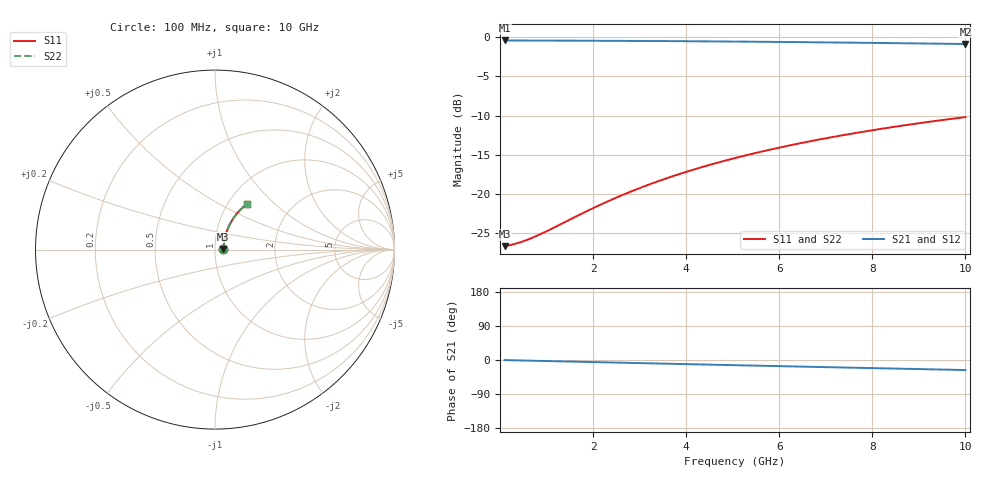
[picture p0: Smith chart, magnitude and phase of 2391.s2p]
# Hz S RI R 50.00
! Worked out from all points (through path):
!   100 points, 100 MHz to 10 GHz, reference 50 ohm
!   highest |S21| = -0.41 dB at 100 MHz (marker M1); lowest = -0.9 dB at 10 GHz (marker M2)
!   group delay of S21, straight-line fit = 7.36 ps
!   lowest |S11| = -26.6 dB at 100 MHz (marker M3), VSWR 1.10, Z = 54.9 + j0.338 ohm
!   |S11| at or under -10 dB: start of sweep to end of sweep
!   |S22| runs from -26.6 to -10.2 dB; largest |S21 - S12| = 0
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1e8  0.0466 0.00307  0.9534 -0.00456  0.9534 -0.00456  0.0466 0.00307
3e8  0.0472 0.0092  0.9528 -0.0137  0.9528 -0.0137  0.0472 0.0092
4e8  0.0475 0.0123  0.9525 -0.0182  0.9525 -0.0182  0.0475 0.0123
5e8  0.0478 0.0153  0.9522 -0.0228  0.9522 -0.0228  0.0478 0.0153
7e8  0.0484 0.0214  0.9516 -0.0318  0.9516 -0.0318  0.0484 0.0214
1e9  0.0494 0.0306  0.9505 -0.0454  0.9505 -0.0454  0.0494 0.0306
1.8e9  0.0532 0.0547  0.9464 -0.0815  0.9464 -0.0815  0.0532 0.0547
2.2e9  0.0558 0.0666  0.9437 -0.0993  0.9437 -0.0993  0.0558 0.0666
2.6e9  0.0587 0.0784  0.9405 -0.1171  0.9405 -0.1171  0.0587 0.0784
3e9  0.0621 0.09  0.9368 -0.1347  0.9368 -0.1347  0.0621 0.09
3.4e9  0.0659 0.1015  0.9328 -0.1521  0.9328 -0.1521  0.0659 0.1015
3.8e9  0.0701 0.1128  0.9282 -0.1694  0.9282 -0.1694  0.0701 0.1128
4.2e9  0.0747 0.1239  0.9232 -0.1864  0.9232 -0.1864  0.0747 0.1239
4.6e9  0.0797 0.1348  0.9178 -0.2033  0.9178 -0.2033  0.0797 0.1348
5.1e9  0.0865 0.148  0.9105 -0.224  0.9105 -0.224  0.0865 0.148
5.5e9  0.0923 0.1583  0.9042 -0.2403  0.9042 -0.2403  0.0923 0.1583
5.9e9  0.0985 0.1684  0.8975 -0.2563  0.8975 -0.2563  0.0985 0.1684
6.7e9  0.1119 0.1876  0.883 -0.2876  0.883 -0.2876  0.1119 0.1876
7.5e9  0.1264 0.2056  0.8671 -0.3176  0.8671 -0.3176  0.1264 0.2056
8.4e9  0.1441 0.2244  0.8477 -0.3498  0.8477 -0.3498  0.1441 0.2244
9.2e9  0.1608 0.2396  0.8294 -0.3771  0.8294 -0.3771  0.1608 0.2396
1e10  0.1784 0.2534  0.81 -0.4029  0.81 -0.4029  0.1784 0.2534
